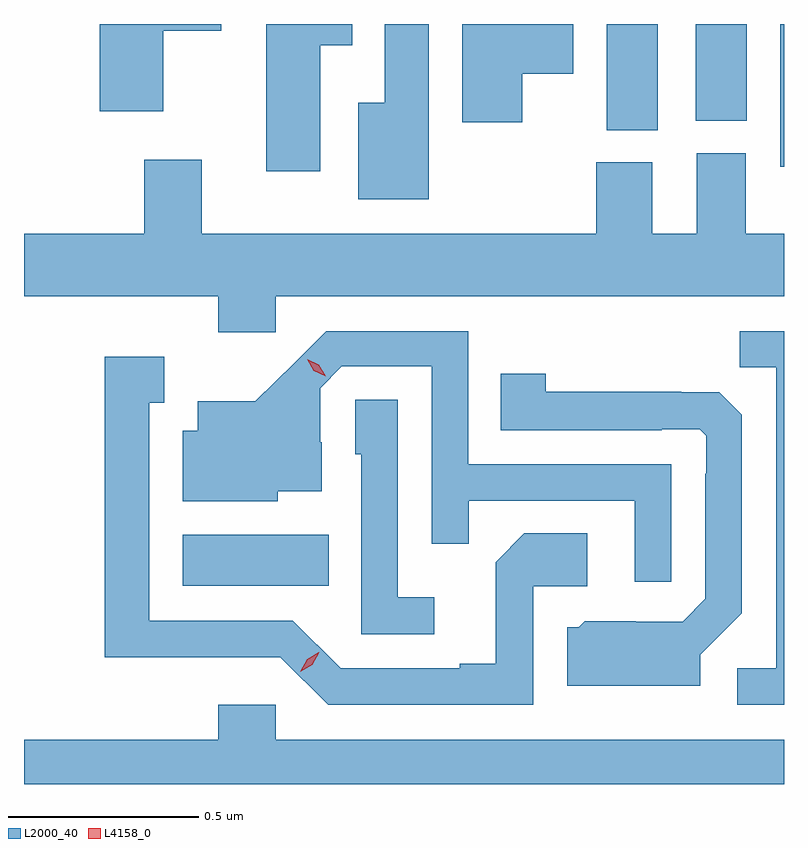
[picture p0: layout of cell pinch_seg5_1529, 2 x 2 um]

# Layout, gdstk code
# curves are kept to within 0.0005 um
import gdstk
lib = gdstk.Library(unit=1e-6, precision=1e-09)
def R(c, l, rs):  # rectangles x0, y0, x1, y1
    for r in rs: c.add(gdstk.rectangle(r[:2], r[2:], *l))
def P(c, l, *ps):  # polygons
    for p in ps: c.add(gdstk.Polygon(p, *l))
L2000_40 = (2000, 40)
L4158_0 = (4158, 0)

pinch_seg5_1529 = lib.new_cell('pinch_seg5_1529')
R(pinch_seg5_1529, L2000_40, [(120.5,886.634,120.884,886.768), (122.072,887.736,122.082,888.112), (121.616,887.833,121.75,888.112), (121.85,887.857,121.984,888.112)])
P(pinch_seg5_1529, L2000_40, [(121.147,888.112),(121.031,888.112),(121.031,887.905),(120.962,887.905),(120.962,887.651),(121.147,887.651)],
  [(120.448,888.094),(120.601,888.094),(120.601,888.112),(120.281,888.112),(120.281,887.883),(120.448,887.883)],
  [(120.862,888.056),(120.946,888.056),(120.946,888.112),(120.719,888.112),(120.719,887.724),(120.862,887.724)],
  [(121.393,887.981),(121.528,887.981),(121.528,888.112),(121.235,888.112),(121.235,887.853),(121.393,887.853)],
  [(120.744,887.396),(122.082,887.396),(122.082,887.56),(121.981,887.56),(121.981,887.772),(121.853,887.772),(121.853,887.56),(121.735,887.56),(121.735,887.748),(121.588,887.748),(121.588,887.56),(120.55,887.56),(120.55,887.755),(120.398,887.755),(120.398,887.56),(120.082,887.56),(120.082,887.396),(120.593,887.396),(120.593,887.301),(120.744,887.301)],
  [(121.785,886.953),(121.251,886.953),(121.251,887.304),(120.878,887.304),(120.691,887.119),(120.539,887.119),(120.539,887.041),(120.5,887.041),(120.5,886.856),(120.75,886.856),(120.75,886.883),(120.865,886.883),(120.865,887.012),(120.861,887.012),(120.861,887.154),(120.918,887.211),(121.155,887.211),(121.155,886.744),(121.253,886.744),(121.253,886.857),(121.689,886.857),(121.689,886.644),(121.785,886.644)],
  [(122.082,887.304),(121.966,887.304),(121.966,887.209),(122.061,887.209),(122.061,886.416),(121.959,886.416),(121.959,886.32),(122.082,886.32)],
  [(121.422,886.632),(121.564,886.632),(121.564,886.772),(121.399,886.772),(121.323,886.696),(121.323,886.429),(121.229,886.429),(121.229,886.416),(120.915,886.416),(120.789,886.542),(120.412,886.542),(120.412,887.115),(120.451,887.115),(120.451,887.236),(120.294,887.236),(120.294,886.445),(120.534,886.445),(120.534,886.446),(120.756,886.446),(120.882,886.32),(121.422,886.32)],
  [(121.861,886.452),(121.971,886.562),(121.971,887.084),(121.912,887.143),(121.811,887.143),(121.811,887.144),(121.455,887.144),(121.455,887.191),(121.336,887.191),(121.336,887.043),(121.76,887.043),(121.76,887.046),(121.86,887.046),(121.878,887.028),(121.878,886.928),(121.875,886.928),(121.875,886.599),(121.815,886.539),(121.692,886.539),(121.692,886.54),(121.558,886.54),(121.542,886.524),(121.511,886.524),(121.511,886.37),(121.861,886.37)],
  [(121.162,886.603),(121.065,886.603),(121.065,887.123),(120.954,887.123),(120.954,886.98),(120.969,886.98),(120.969,886.506),(121.162,886.506)],
  [(122.082,886.228),(120.744,886.228),(120.744,886.321),(120.593,886.321),(120.593,886.228),(120.082,886.228),(120.082,886.112),(122.082,886.112)])
P(pinch_seg5_1529, L4158_0, [(120.876,887.185),(120.845,887.2),(120.827,887.23),(120.827,887.23),(120.828,887.23),(120.858,887.215),(120.876,887.185),(120.876,887.185)],
  [(120.809,886.407),(120.809,886.408),(120.827,886.44),(120.858,886.459),(120.859,886.459),(120.859,886.459),(120.841,886.426),(120.809,886.407)])

lib.write_gds('pinch_seg5_1529.gds')
